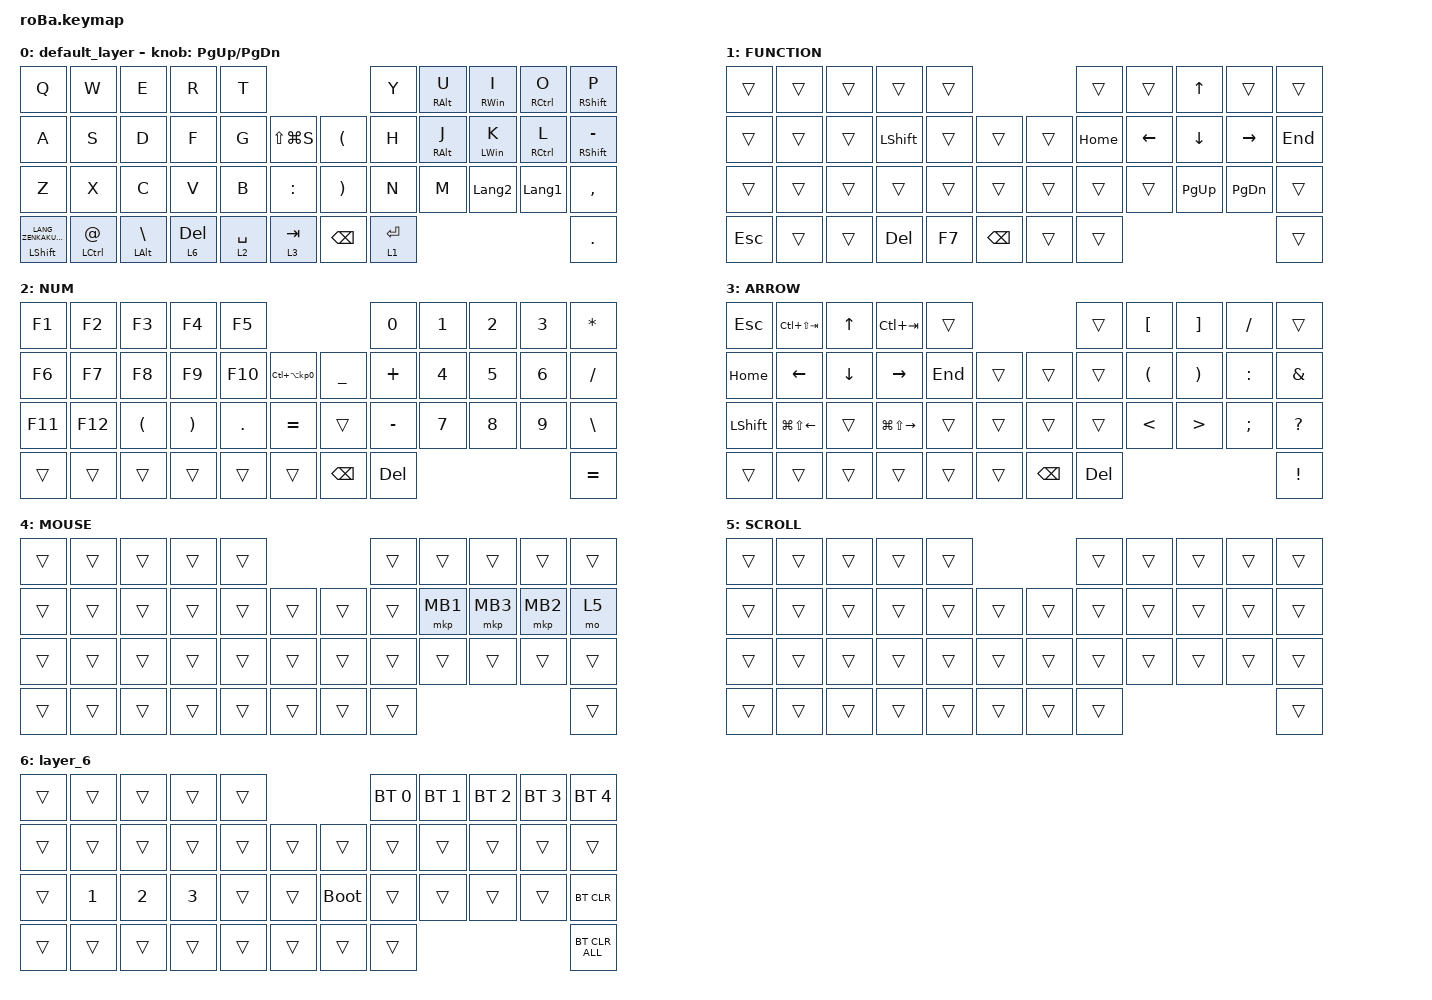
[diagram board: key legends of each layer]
#include <behaviors.dtsi>
#include <dt-bindings/zmk/bt.h>
#include <dt-bindings/zmk/keys.h>
#include <dt-bindings/zmk/pointing.h>

#define ZMK_MOUSE_DEFAULT_SCRL_VAL 100
#define MOUSE 4
#define SCROLL 5
#define NUM 6

&mt {
    flavor = "balanced";
    quick-tap-ms = <0>;
};

/ {
    combos {
        compatible = "zmk,combos";

        tab {
            bindings = <&kp TAB>;
            key-positions = <11 12>;
        };

        shift_tab {
            bindings = <&kp LS(TAB)>;
            key-positions = <12 13>;
        };

        muhennkann {
            bindings = <&to_layer_0 INT_MUHENKAN>;
            key-positions = <11 10>;
        };

        double_quotation {
            bindings = <&kp DOUBLE_QUOTES>;
            key-positions = <20 21>;
        };

        eq {
            bindings = <&kp EQUAL>;
            key-positions = <24 25>;
        };
    };

    macros {
        to_layer_0: to_layer_0 {
            compatible = "zmk,behavior-macro-one-param";
            #binding-cells = <1>;
            bindings = <&to 0 &macro_param_1to1 &kp MACRO_PLACEHOLDER>;
            label = "TO_LAYER_0";
        };
    };

    behaviors {
        lt_to_layer_0: lt_to_layer_0 {
            compatible = "zmk,behavior-hold-tap";
            label = "LAYER_TAP_TO_0";
            bindings = <&mo>, <&to_layer_0>;

            #binding-cells = <2>;
            tapping-term-ms = <200>;
        };

        scroll_up_down: behavior_sensor_rotate_mouse_wheel_up_down {
            compatible = "zmk,behavior-sensor-rotate";
            #sensor-binding-cells = <0>;
            bindings = <&msc SCRL_UP>, <&msc SCRL_DOWN>;

            // 追加: スクロールのタップ時間を設定 (20ms)

            tap-ms = <20>;
        };
    };

    keymap {
        compatible = "zmk,keymap";

        default_layer {
            bindings = <
&kp Q                               &kp W                     &kp E                   &kp R                    &kp T                                                         &kp Y        &mt RIGHT_ALT U  &mt RIGHT_WIN I  &mt RIGHT_CONTROL O  &mt RIGHT_SHIFT P
&kp A                               &kp S                     &kp D                   &kp F                    &kp G        &kp LS(LG(S))             &kp LEFT_PARENTHESIS   &kp H        &mt RIGHT_ALT J  &mt LEFT_WIN K   &mt RIGHT_CONTROL L  &mt RIGHT_SHIFT MINUS
&kp Z                               &kp X                     &kp C                   &kp V                    &kp B        &kp COLON                 &kp RIGHT_PARENTHESIS  &kp N        &kp M            &kp LANGUAGE_2   &kp LANGUAGE_1       &kp COMMA
&mt LEFT_SHIFT LANG_ZENKAKUHANKAKU  &mt LEFT_CONTROL AT_SIGN  &mt LEFT_ALT BACKSLASH  &lt_to_layer_0 6 DELETE  &lt 2 SPACE  &lt_to_layer_0 3 TAB      &kp BACKSPACE          &lt 1 ENTER                                                         &kp PERIOD
            >;

            sensor-bindings = <&inc_dec_kp PAGE_UP PAGE_DOWN>;
        };

        FUNCTION {
            bindings = <
&trans      &trans  &trans  &trans          &trans                             &trans    &trans          &kp UP_ARROW    &trans           &trans
&trans      &trans  &trans  &kp LEFT_SHIFT  &trans  &trans             &trans  &kp HOME  &kp LEFT_ARROW  &kp DOWN_ARROW  &kp RIGHT_ARROW  &kp END
&trans      &trans  &trans  &trans          &trans  &trans             &trans  &trans    &trans          &kp PAGE_UP     &kp PAGE_DOWN    &trans
&kp ESCAPE  &trans  &trans  &kp DELETE      &kp F7  &kp BACKSPACE      &trans  &trans                                                     &trans
            >;
        };

        NUM {
            bindings = <
&kp F1   &kp F2   &kp F3                &kp F4                 &kp F5                                                   &kp N0      &kp N1  &kp N2  &kp N3  &kp ASTERISK
&kp F6   &kp F7   &kp F8                &kp F9                 &kp F10     &kp LC(LA(KP_NUMBER_0))      &kp UNDERSCORE  &kp PLUS    &kp N4  &kp N5  &kp N6  &kp SLASH
&kp F11  &kp F12  &kp LEFT_PARENTHESIS  &kp RIGHT_PARENTHESIS  &kp PERIOD  &kp EQUAL                    &trans          &kp MINUS   &kp N7  &kp N8  &kp N9  &kp BACKSLASH
&trans   &trans   &trans                &trans                 &trans      &trans                       &kp BACKSPACE   &kp DELETE                          &kp EQUAL
            >;
        };

        ARROW {
            bindings = <
&kp ESCAPE      &kp LC(LS(TAB))         &kp UP_ARROW    &kp LC(TAB)              &trans                              &trans      &kp LEFT_BRACKET      &kp RIGHT_BRACKET      &kp SLASH      &trans
&kp HOME        &kp LEFT_ARROW          &kp DOWN_ARROW  &kp RIGHT_ARROW          &kp END  &trans      &trans         &trans      &kp LEFT_PARENTHESIS  &kp RIGHT_PARENTHESIS  &kp COLON      &kp AMPERSAND
&kp LEFT_SHIFT  &kp LG(LS(LEFT_ARROW))  &trans          &kp LG(LS(RIGHT_ARROW))  &trans   &trans      &trans         &trans      &kp LESS_THAN         &kp GREATER_THAN       &kp SEMICOLON  &kp QUESTION
&trans          &trans                  &trans          &trans                   &trans   &trans      &kp BACKSPACE  &kp DELETE                                                              &kp EXCLAMATION
            >;
        };

        MOUSE {
            bindings = <
&trans  &trans  &trans  &trans  &trans                      &trans  &trans    &trans    &trans    &trans
&trans  &trans  &trans  &trans  &trans  &trans      &trans  &trans  &mkp MB1  &mkp MB3  &mkp MB2  &mo 5
&trans  &trans  &trans  &trans  &trans  &trans      &trans  &trans  &trans    &trans    &trans    &trans
&trans  &trans  &trans  &trans  &trans  &trans      &trans  &trans                                &trans
            >;
        };

        SCROLL {
            bindings = <
&trans  &trans  &trans  &trans  &trans                      &trans  &trans  &trans  &trans  &trans
&trans  &trans  &trans  &trans  &trans  &trans      &trans  &trans  &trans  &trans  &trans  &trans
&trans  &trans  &trans  &trans  &trans  &trans      &trans  &trans  &trans  &trans  &trans  &trans
&trans  &trans  &trans  &trans  &trans  &trans      &trans  &trans                          &trans
            >;
        };

        layer_6 {
            bindings = <
&trans  &trans        &trans        &trans        &trans                           &bt BT_SEL 0  &bt BT_SEL 1  &bt BT_SEL 2  &bt BT_SEL 3  &bt BT_SEL 4
&trans  &trans        &trans        &trans        &trans  &trans      &trans       &trans        &trans        &trans        &trans        &trans
&trans  &kp NUMBER_1  &kp NUMBER_2  &kp NUMBER_3  &trans  &trans      &bootloader  &trans        &trans        &trans        &trans        &bt BT_CLR
&trans  &trans        &trans        &trans        &trans  &trans      &trans       &trans                                                  &bt BT_CLR_ALL
            >;
        };
    };
};
